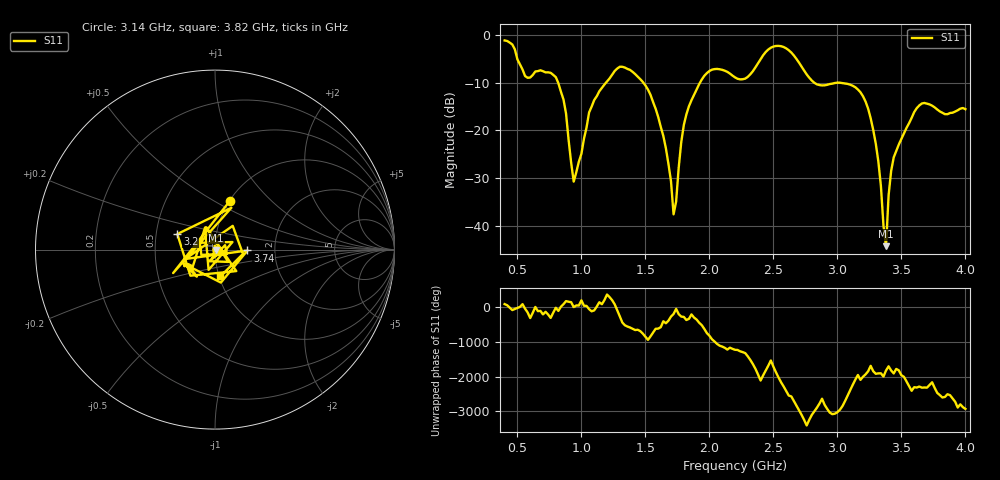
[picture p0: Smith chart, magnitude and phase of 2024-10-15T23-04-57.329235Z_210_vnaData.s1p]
! Created with skrf (http://scikit-rf.org).
# Hz S RI R 50.0
!freq ReS11 ImS11
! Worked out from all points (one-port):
!   181 points, 400 MHz to 4 GHz, reference 50 ohm
!   lowest |S11| = -44.3 dB at 3.38 GHz (marker M1), VSWR 1.01, Z = 50.6 - j0.222 ohm
!   |S11| at or under -10 dB: 818 MHz to 1.193 GHz (375.5 MHz wide, 37.3 % of centre); 1.483 GHz to 1.927 GHz (444.2 MHz wide, 26 % of centre); 2.818 GHz to end of sweep
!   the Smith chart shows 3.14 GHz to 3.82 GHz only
!   S11 on the Smith chart (normalised r, x): 3.14 GHz: 1.00, +0.59; 3.2 GHz: 0.64, +0.12; 3.74 GHz: 1.44, -0.01; 3.82 GHz: 1.01, -0.31
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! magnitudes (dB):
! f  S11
! 400 MHz  -1.2
! 560 MHz  -8.6
! 760 MHz  -8.0
! 860 MHz  -13.6
! 940 MHz  -30.7
! 1.06 GHz  -16.3
! 1.3 GHz  -6.7
! 1.58 GHz  -15.5
! 1.66 GHz  -23.8
! 1.72 GHz  -37.6
! 1.76 GHz  -27.9
! 1.82 GHz  -16.7
! 1.94 GHz  -9.4
! 2.2 GHz  -8.9
! 2.5 GHz  -2.5
! 2.66 GHz  -4.3
! 2.84 GHz  -10.4
! 3.1 GHz  -10.4
! 3.14 GHz  -11.0
! 3.2 GHz  -12.9
! 3.3 GHz  -22.8
! 3.38 GHz  -44.3
! 3.4 GHz  -33.6
! 3.42 GHz  -28.5
! 3.56 GHz  -18.5
! 3.74 GHz  -14.8
! 3.82 GHz  -16.3
! 4 GHz  -15.6
